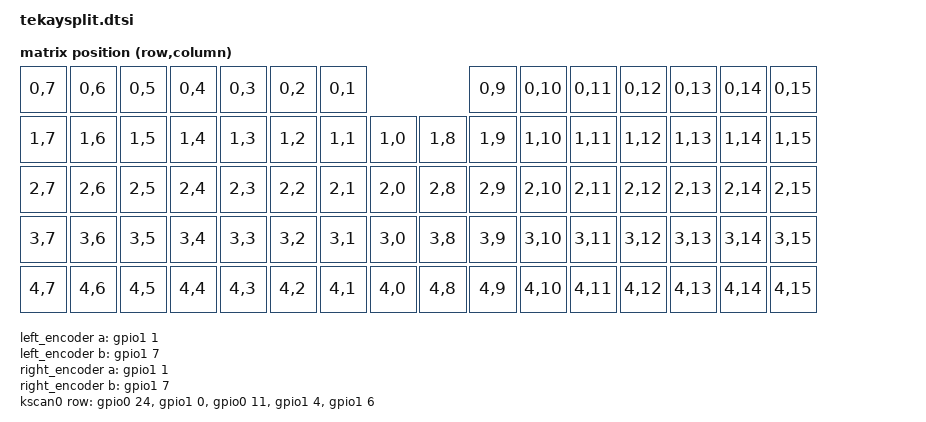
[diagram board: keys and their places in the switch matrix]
#include <dt-bindings/zmk/matrix_transform.h>
#include <dt-bindings/pinctrl/nrf-pinctrl.h>

&pinctrl {
    i2c0_default: i2c0_default {
        psels = <NRF_PSEL(TWIM_SCL, 0, 17)>,
                <NRF_PSEL(TWIM_SDA, 0, 20)>;
        nordic,drive-mode = <NRF_DRIVE_S0D1>;
    };

    i2c0_sleep: i2c0_sleep {
        psels = <NRF_PSEL(TWIM_SCL, 0, 17)>,
                <NRF_PSEL(TWIM_SDA, 0, 20)>;
        low-power-enable;
    };
};

&i2c0 {
    compatible = "nordic,nrf-twim";
    status = "okay";
    pinctrl-0 = <&i2c0_default>;
    pinctrl-1 = <&i2c0_sleep>;
    pinctrl-names = "default", "sleep";
    clock-frequency = <400000>; // 100kbps or 400000 (400kbps)
};

/ {
    chosen {
        zmk,kscan = &kscan0;
        zmk,matrix-transform = &default_transform;
    };

    sensors {
        compatible = "zmk,keymap-sensors";
        sensors = <&encoder_1>;
    };

    left_encoder: encoder_left {
        compatible = "alps,ec11";
        label = "encoder";
        a-gpios = <&gpio1 1 (GPIO_ACTIVE_HIGH | GPIO_PULL_UP)>;
        b-gpios = <&gpio1 7 (GPIO_ACTIVE_HIGH | GPIO_PULL_UP)>;
        steps = <80>;
        status = "disabled";
    };

    right_encoder: encoder_right {
        compatible = "alps,ec11";
        label = "encoder";
        a-gpios = <&gpio1 1 (GPIO_ACTIVE_HIGH | GPIO_PULL_UP)>;
        b-gpios = <&gpio1 7 (GPIO_ACTIVE_HIGH | GPIO_PULL_UP)>;
        steps = <20>;
        status = "disabled";
    };

    sensors: sensors {
        compatible = "zmk,keymap-sensors"
        sensors = <&left_encoder &right_encoder>
        triggers-per-roation = <20>;
    };

    default_transform: keymap_transform0 {
        compatible = "zmk,matrix-transform";
        columns = <16>;
        rows = <5>;
        map = <
            RC(0,7) RC(0,6) RC(0,5) RC(0,4) RC(0,3) RC(0,2) RC(0,1)                 RC(0,9) RC(0,10) RC(0,11) RC(0,12) RC(0,13) RC(0,14) RC(0,15)
            RC(1,7) RC(1,6) RC(1,5) RC(1,4) RC(1,3) RC(1,2) RC(1,1) RC(1,0) RC(1,8) RC(1,9) RC(1,10) RC(1,11) RC(1,12) RC(1,13) RC(1,14) RC(1,15)
            RC(2,7) RC(2,6) RC(2,5) RC(2,4) RC(2,3) RC(2,2) RC(2,1) RC(2,0) RC(2,8) RC(2,9) RC(2,10) RC(2,11) RC(2,12) RC(2,13) RC(2,14) RC(2,15)
            RC(3,7) RC(3,6) RC(3,5) RC(3,4) RC(3,3) RC(3,2) RC(3,1) RC(3,0) RC(3,8) RC(3,9) RC(3,10) RC(3,11) RC(3,12) RC(3,13) RC(3,14) RC(3,15)
            RC(4,7) RC(4,6) RC(4,5) RC(4,4) RC(4,3) RC(4,2) RC(4,1) RC(4,0) RC(4,8) RC(4,9) RC(4,10) RC(4,11) RC(4,12) RC(4,13) RC(4,14) RC(4,15)



        //  LKey 1 |LKey 2 |LKey 3      RKey 1 |RKey 2 |RKey 3
        //  RC(0,0) RC(0,1) RC(0,2)     RC(0,3) RC(0,4) RC(0,5)
        //  LKey 4 |LKey 5 |LKey 6      RKey 4 |RKey 5 |RKey 6
        //  RC(1,0) RC(1,1) RC(1,2)     RC(1,3) RC(1,4) RC(1,5)
        //  LKey 7 |LKey 8 |LKey 9      RKey 7 |RKey 8 |RKey 9
        //  RC(2,0) RC(2,1) RC(2,2)     RC(2,3) RC(2,4) RC(2,5)
        >;
    };

    kscan0: kscan {
        compatible = "zmk,kscan-gpio-matrix";
        wakeup-source;
        diode-direction = "row2col";
        row-gpios
            = <&gpio0 24 (GPIO_ACTIVE_HIGH)>
            , <&gpio1 0  (GPIO_ACTIVE_HIGH)>
            , <&gpio0 11 (GPIO_ACTIVE_HIGH)>
            , <&gpio1 4  (GPIO_ACTIVE_HIGH)>
            , <&gpio1 6  (GPIO_ACTIVE_HIGH)>
            ;
    };
};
